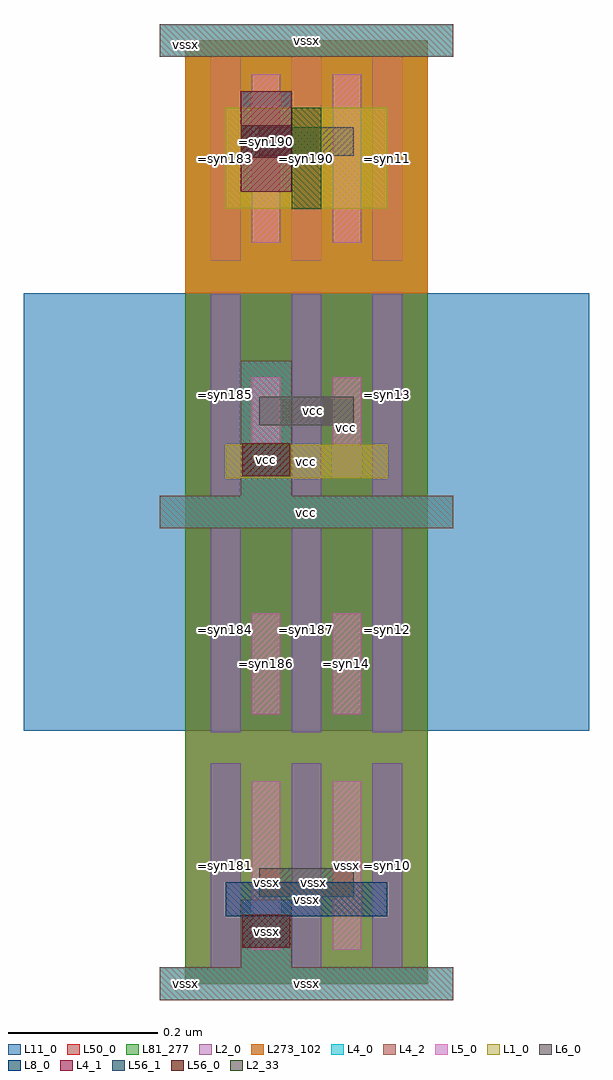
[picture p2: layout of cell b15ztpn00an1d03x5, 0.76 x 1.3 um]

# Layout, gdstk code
import gdstk
lib = gdstk.Library(unit=1e-6, precision=5e-10)
def R(c, l, rs):  # rectangles x0, y0, x1, y1
    for r in rs: c.add(gdstk.rectangle(r[:2], r[2:], *l))
def A(c, l, x, y, w, h, nx, ny, dx, dy):  # array of equal rectangles
    R(c, l, [(x+i*dx, y+j*dy, x+i*dx+w, y+j*dy+h) for i in range(nx) for j in range(ny)])
def P(c, l, *ps):  # polygons
    for p in ps: c.add(gdstk.Polygon(p, *l))
L1_0 = (1, 0)
L2_0 = (2, 0)
L2_33 = (2, 33)
L4_0 = (4, 0)
L4_1 = (4, 1)
L4_2 = (4, 2)
L5_0 = (5, 0)
L6_0 = (6, 0)
L8_0 = (8, 0)
L11_0 = (11, 0)
L50_0 = (50, 0)
L56_0 = (56, 0)
L56_1 = (56, 1)
L81_277 = (81, 277)
L273_102 = (273, 102)

b15ztpn00an1d03x5 = lib.new_cell('b15ztpn00an1d03x5')
R(b15ztpn00an1d03x5, L1_0, [(0.054,0.675,0.27,0.72), (0.054,1.035,0.27,1.17)])
A(b15ztpn00an1d03x5, L2_0, 0.034, 0.021, 0.04, 0.273, 3, 4, 0.108, 0.315)
R(b15ztpn00an1d03x5, L2_33, [(0.142,1.035,0.182,1.17)])
R(b15ztpn00an1d03x5, L4_0, [(0.074,1.058,0.142,1.192), (-0.034,1.238,0.358,1.282)])
P(b15ztpn00an1d03x5, L4_0, [(0.358,0.608),(-0.034,0.608),(-0.034,0.652),(0.074,0.652),(0.074,0.832),(0.142,0.832),(0.142,0.652),(0.358,0.652)],
  [(0.358,-0.022),(-0.034,-0.022),(-0.034,0.022),(0.074,0.022),(0.074,0.112),(0.142,0.112),(0.142,0.022),(0.358,0.022)])
R(b15ztpn00an1d03x5, L4_1, [(0.074,1.058,0.142,1.192)])
R(b15ztpn00an1d03x5, L4_2, [(-0.034,1.238,0.358,1.282)])
P(b15ztpn00an1d03x5, L4_2, [(0.358,0.608),(-0.034,0.608),(-0.034,0.652),(0.074,0.652),(0.074,0.832),(0.142,0.832),(0.142,0.652),(0.358,0.652)],
  [(0.358,-0.022),(-0.034,-0.022),(-0.034,0.022),(0.074,0.022),(0.074,0.112),(0.142,0.112),(0.142,0.022),(0.358,0.022)])
R(b15ztpn00an1d03x5, L5_0, [(0.089,0.045,0.127,0.27), (0.197,0.045,0.235,0.27), (0.089,0.36,0.127,0.495), (0.197,0.36,0.235,0.495), (0.089,0.675,0.127,0.81), (0.197,0.675,0.235,0.81), (0.089,0.99,0.127,1.215), (0.197,0.99,0.235,1.215)])
R(b15ztpn00an1d03x5, L6_0, [(0.099,0.116,0.225,0.154), (0.099,0.746,0.225,0.784), (0.099,1.106,0.225,1.144)])
R(b15ztpn00an1d03x5, L8_0, [(0.054,0.09,0.27,0.135)])
R(b15ztpn00an1d03x5, L11_0, [(-0.216,0.3375,0.54,0.9225)])
R(b15ztpn00an1d03x5, L50_0, [(0,0,0.324,1.26)])
R(b15ztpn00an1d03x5, L56_0, [(0.076,0.048,0.14,0.092), (0.076,0.678,0.14,0.722), (0.074,1.103,0.142,1.147)])
R(b15ztpn00an1d03x5, L56_1, [(0.076,0.048,0.14,0.092), (0.076,0.678,0.14,0.722), (0.074,1.103,0.142,1.147)])
R(b15ztpn00an1d03x5, L81_277, [(0,0,0.324,1.26)])
R(b15ztpn00an1d03x5, L273_102, [(0,0.9225,0.324,1.26)])
b15ztpn00an1d03x5.add(gdstk.Label('vssx', (0,1.255), layer=81, texttype=6))
b15ztpn00an1d03x5.add(gdstk.Label('vssx', (0,0), layer=81, texttype=6))
b15ztpn00an1d03x5.add(gdstk.Label('vcc', (0.108,0.7), layer=56, texttype=1))
b15ztpn00an1d03x5.add(gdstk.Label('vssx', (0.108,0.07), layer=56, texttype=1))
b15ztpn00an1d03x5.add(gdstk.Label('vcc', (0.162,0.63), layer=11, texttype=0))
b15ztpn00an1d03x5.add(gdstk.Label('=syn190', (0.108,1.125), layer=4, texttype=0))
b15ztpn00an1d03x5.add(gdstk.Label('vssx', (0.162,1.26), layer=4, texttype=0))
b15ztpn00an1d03x5.add(gdstk.Label('vcc', (0.162,0.63), layer=4, texttype=0))
b15ztpn00an1d03x5.add(gdstk.Label('vssx', (0.108,0.07), layer=4, texttype=0))
b15ztpn00an1d03x5.add(gdstk.Label('vssx', (0.162,1.26), layer=4, texttype=2))
b15ztpn00an1d03x5.add(gdstk.Label('vcc', (0.162,0.63), layer=4, texttype=2))
b15ztpn00an1d03x5.add(gdstk.Label('vssx', (0.162,0), layer=4, texttype=2))
b15ztpn00an1d03x5.add(gdstk.Label('=syn183', (0.054,1.1025), layer=2, texttype=0))
b15ztpn00an1d03x5.add(gdstk.Label('=syn185', (0.054,0.7875), layer=2, texttype=0))
b15ztpn00an1d03x5.add(gdstk.Label('=syn184', (0.054,0.4725), layer=2, texttype=0))
b15ztpn00an1d03x5.add(gdstk.Label('=syn181', (0.054,0.1575), layer=2, texttype=0))
b15ztpn00an1d03x5.add(gdstk.Label('=syn190', (0.162,1.1025), layer=2, texttype=0))
b15ztpn00an1d03x5.add(gdstk.Label('vcc', (0.162,0.6975), layer=2, texttype=0))
b15ztpn00an1d03x5.add(gdstk.Label('=syn187', (0.162,0.4725), layer=2, texttype=0))
b15ztpn00an1d03x5.add(gdstk.Label('vssx', (0.162,0.1125), layer=2, texttype=0))
b15ztpn00an1d03x5.add(gdstk.Label('=syn11', (0.27,1.1025), layer=2, texttype=0))
b15ztpn00an1d03x5.add(gdstk.Label('=syn13', (0.27,0.7875), layer=2, texttype=0))
b15ztpn00an1d03x5.add(gdstk.Label('=syn12', (0.27,0.4725), layer=2, texttype=0))
b15ztpn00an1d03x5.add(gdstk.Label('=syn10', (0.27,0.1575), layer=2, texttype=0))
b15ztpn00an1d03x5.add(gdstk.Label('=syn190', (0.108,1.1025), layer=1, texttype=0))
b15ztpn00an1d03x5.add(gdstk.Label('=syn190', (0.171,1.125), layer=6, texttype=0))
b15ztpn00an1d03x5.add(gdstk.Label('vcc', (0.171,0.765), layer=6, texttype=0))
b15ztpn00an1d03x5.add(gdstk.Label('vssx', (0.171,0.135), layer=6, texttype=0))
b15ztpn00an1d03x5.add(gdstk.Label('=syn190', (0.108,1.1025), layer=5, texttype=0))
b15ztpn00an1d03x5.add(gdstk.Label('vcc', (0.108,0.7), layer=5, texttype=0))
b15ztpn00an1d03x5.add(gdstk.Label('=syn186', (0.108,0.4275), layer=5, texttype=0))
b15ztpn00an1d03x5.add(gdstk.Label('vssx', (0.108,0.135), layer=5, texttype=0))
b15ztpn00an1d03x5.add(gdstk.Label('=syn190', (0.216,1.1025), layer=5, texttype=0))
b15ztpn00an1d03x5.add(gdstk.Label('vcc', (0.216,0.7425), layer=5, texttype=0))
b15ztpn00an1d03x5.add(gdstk.Label('=syn14', (0.216,0.4275), layer=5, texttype=0))
b15ztpn00an1d03x5.add(gdstk.Label('vssx', (0.216,0.1575), layer=5, texttype=0))

lib.write_gds('b15ztpn00an1d03x5.gds')
